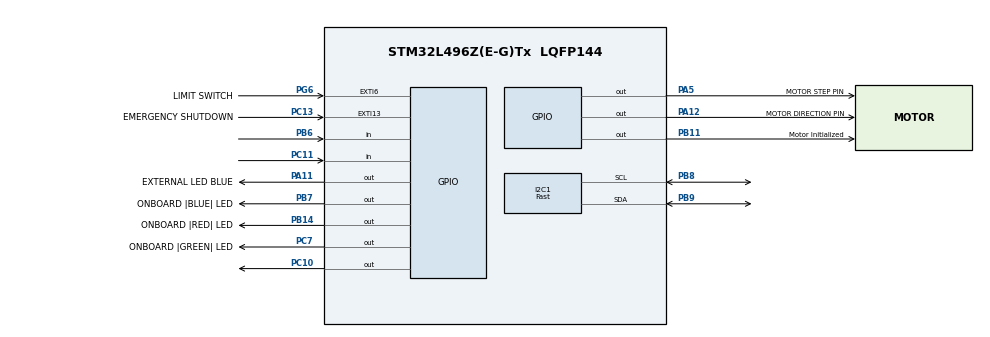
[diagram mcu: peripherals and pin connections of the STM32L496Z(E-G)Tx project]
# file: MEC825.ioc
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Mcu.Family=STM32L4
RCC.MSI_VALUE=4000000
VP_SYS_VS_tim6.Mode=TIM6
FREERTOS.Tasks01=OLED,24,128,OLEDupdater,Default,NULL,Dynamic,NULL,NULL;MOTOR,16,128,MOTORupdater,Default,NULL,Dynamic,NULL,NULL
PG6.Signal=GPXTI6
PA13\ (JTMS/SWDIO).Mode=Serial_Wire
I2C1.I2C_Speed_Mode=I2C_Fast
NVIC.TIM6_DAC_IRQn=true\:0\:0\:false\:false\:true\:false\:false\:true
PC13.Signal=GPXTI13
PC10.Signal=GPIO_Output
PC11.Signal=GPIO_Input
PB14.GPIO_Label=ONBOARD |RED| LED
PG6.GPIO_Label=LIMIT SWITCH
PB11.GPIO_Label=Motor Initialized
PA11.GPIO_Label=EXTERNAL LED BLUE
PC13.GPIO_Label=EMERGENCY SHUTDOWN
PB11.Signal=GPIO_Output
PA12.GPIO_Label=MOTOR DIRECTION PIN
ProjectManager.StackSize=0x400
VP_FREERTOS_VS_CMSIS_V2.Mode=CMSIS_V2
PA14\ (JTCK/SWCLK).Signal=SYS_JTCK-SWCLK
PA12.Signal=GPIO_Output
ProjectManager.TargetToolchain=STM32CubeIDE
PB9.Mode=I2C
PB6.Signal=GPIO_Input
I2C1.Timing=0x00000004
PC7.Signal=GPIO_Output
RCC.LSE_VALUE=32768
NVIC.EXTI15_10_IRQn=true\:5\:0\:false\:false\:true\:false\:true\:true
PB14.Signal=GPIO_Output
PA5.Signal=GPIO_Output
RCC.HSE_VALUE=8000000
board=custom
RCC.VCOOutputFreq_Value=32000000
PG6.GPIO_PuPd=GPIO_NOPULL
PB7.Signal=GPIO_Output
PA14\ (JTCK/SWCLK).Mode=Serial_Wire
Mcu.Name=STM32L496Z(E-G)Tx
PC7.GPIO_Label=ONBOARD |GREEN| LED
PB7.GPIO_Label=ONBOARD |BLUE| LED
Mcu.Package=LQFP144
PB9.Signal=I2C1_SDA
NVIC.TimeBase=TIM6_DAC_IRQn
PA5.GPIO_Label=MOTOR STEP PIN
PA11.Signal=GPIO_Output
NVIC.TimeBaseIP=TIM6
NVIC.EXTI9_5_IRQn=true\:5\:0\:false\:false\:true\:true\:true\:true
ProjectManager.HeapSize=0x200
RCC.HSI_VALUE=16000000
NVIC.PriorityGroup=NVIC_PRIORITYGROUP_4
PB8.Mode=I2C
PB8.Signal=I2C1_SCL
RCC.HSI48_VALUE=48000000
PA13\ (JTMS/SWDIO).Signal=SYS_JTMS-SWDIO

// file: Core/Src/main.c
/* USER CODE BEGIN Header */
/**
  ******************************************************************************
  * @file           : main.c
  * @brief          : Main program body
  ******************************************************************************
  * @attention
  *
  * <h2><center>&copy; Copyright (c) 2021 STMicroelectronics.
  * All rights reserved.</center></h2>
  *
  * This software component is licensed by ST under BSD 3-Clause license,
  * the "License"; You may not use this file except in compliance with the
  * License. You may obtain a copy of the License at:
  *                        opensource.org/licenses/BSD-3-Clause
  *
  ******************************************************************************
  */
/* USER CODE END Header */
#include "main.h"
#include "cmsis_os.h"
#include "i2c.h"
#include "gpio.h"

/* USER CODE BEGIN Includes */
#include "bitmap.h"
#include "fonts.h"
#include "ssd1306.h"
#include "StepLib.h"
#include "test.h"
#include <stdio.h>
#include <string.h>
#include <HX711.h>
/* USER CODE END Includes */

void SystemClock_Config(void);
void MX_FREERTOS_Init(void);

int main(void)
{

  /* MCU Configuration--------------------------------------------------------*/

  /* Reset of all peripherals, Initializes the Flash interface and the Systick. */
  HAL_Init();

  /* Configure the system clock */
  SystemClock_Config();

  /* Initialize all configured peripherals */
  MX_GPIO_Init();
  MX_I2C1_Init();
  /* USER CODE BEGIN 2 */

//  SSD1306_Init();  // initialise
//    /// lets print some string
// 	  HAL_Delay(3000);
//      SSD1306_GotoXY (0,0);
//      SSD1306_Puts ("Autonomous" , &Font_7x10, 1);
//      SSD1306_GotoXY (0, 15);
//      SSD1306_Puts ("Pole & Line", &Font_7x10, 1);
//      SSD1306_GotoXY (0, 30);
//      SSD1306_Puts ("Fishing System", &Font_7x10, 1);
//      SSD1306_UpdateScreen(); //display
//      HAL_Delay (3000);
//      SSD1306_Clear();
//
//      SSD1306_GotoXY (0,0);
//      SSD1306_Puts ("Created By:", &Font_7x10, 1);
//      SSD1306_GotoXY (0, 18);
//      SSD1306_Puts ("Heather & Nicholas", &Font_7x10, 1);
//      SSD1306_GotoXY (0, 36);
//      SSD1306_Puts ("Imran & Hasib", &Font_7x10, 1);
//      SSD1306_UpdateScreen(); //display
//      HAL_Delay (3000);
//      SSD1306_Clear();
//
//      SSD1306_DrawBitmap(0,0,logo, 128, 64, 1);
//      SSD1306_UpdateScreen();
//
//      HAL_Delay(2000);
//
//      SSD1306_ScrollRight(0x00, 0x0f);    // scroll entire screen right
//
//      HAL_Delay (2000);
//
//      SSD1306_ScrollLeft(0x00, 0x0f);  // scroll entire screen left
//
//      HAL_Delay (2000);
//
//      SSD1306_Scrolldiagright(0x00, 0x0f);  // scroll entire screen diagonal right
//
//      HAL_Delay (2000);
//
//      SSD1306_Scrolldiagleft(0x00, 0x0f);  // scroll entire screen diagonal left
//
//      HAL_Delay (2000);
//
//      SSD1306_Stopscroll();   // stop scrolling. If not done, screen will keep on scrolling
//
//
//      SSD1306_InvertDisplay(1);   // invert the display
//
//      HAL_Delay(2000);
//
//      SSD1306_InvertDisplay(0);  // normalize the display

      SSD1306_Clear();

      SSD1306_GotoXY (0,0);
      SSD1306_Puts ("Fish Caught: 1" , &Font_7x10, 1);
      SSD1306_GotoXY (0, 15);
      SSD1306_Puts ("Fish Rejected: 2", &Font_7x10, 1);
      SSD1306_GotoXY (0, 30);
      SSD1306_Puts ("Action:Waiting For", &Font_7x10, 1);
      SSD1306_GotoXY (0, 40);
      SSD1306_Puts ("Fish", &Font_7x10, 1);
      SSD1306_UpdateScreen(); //display
      HAL_Delay (5000);
      SSD1306_Clear();

      SSD1306_GotoXY (0,0);
      SSD1306_Puts ("Motor Initializing " , &Font_7x10, 1);
      SSD1306_GotoXY (0, 15);
      SSD1306_Puts ("", &Font_7x10, 1);
      SSD1306_GotoXY (0, 30);
      SSD1306_Puts ("Please Wait", &Font_7x10, 1);
      SSD1306_UpdateScreen(); //display
      HAL_Delay (5000);
      SSD1306_Clear();

      SSD1306_GotoXY (0,0);
      SSD1306_Puts ("EMERGENCY" , &Font_7x10, 1);
      SSD1306_GotoXY (0, 15);
      SSD1306_Puts ("BUTTON", &Font_7x10, 1);
      SSD1306_GotoXY (0, 30);
      SSD1306_Puts ("PRESSED", &Font_7x10, 1);
      SSD1306_UpdateScreen(); //display
      SSD1306_InvertDisplay(1);   // invert the display
      HAL_Delay (3000);
      SSD1306_InvertDisplay(0);   // invert the display
      HAL_Delay (3000);
      SSD1306_InvertDisplay(1);   // invert the display
      HAL_Delay (5000);
      SSD1306_Clear();

//  long holder = read(); // read from the FUCKING shits
//	   		     /// lets print some string
//	   	     char result[50];
//	   	     int num = holder;
//	   	     sprintf(result, "%d", num);
//	   	     printf("\n The string for the num is %s", result);
//
//	   	  SSD1306_Clear();
//
//	   	  HAL_Delay(10000);
//	        SSD1306_GotoXY (0,0);
//	        SSD1306_Puts (result , &Font_7x10, 1);
//	        HAL_Delay (3000);
//	        SSD1306_Clear();

  /* USER CODE END 2 */

  /* Init scheduler */
  osKernelInitialize();  /* Call init function for freertos objects (in freertos.c) */
  MX_FREERTOS_Init();
  /* Start scheduler */
  osKernelStart();

  /* We should never get here as control is now taken by the scheduler */
  /* Infinite loop */
  while (1)
  {

    /* USER CODE BEGIN 3 */

    /* USER CODE BEGIN 3 */
  }
  /* USER CODE END 3 */
}

void SystemClock_Config(void)
{
  RCC_OscInitTypeDef RCC_OscInitStruct = {0};
  RCC_ClkInitTypeDef RCC_ClkInitStruct = {0};
  RCC_PeriphCLKInitTypeDef PeriphClkInit = {0};

  /** Initializes the RCC Oscillators according to the specified parameters
  * in the RCC_OscInitTypeDef structure.
  */
  RCC_OscInitStruct.OscillatorType = RCC_OSCILLATORTYPE_MSI;
  RCC_OscInitStruct.MSIState = RCC_MSI_ON;
  RCC_OscInitStruct.MSICalibrationValue = 0;
  RCC_OscInitStruct.MSIClockRange = RCC_MSIRANGE_6;
  RCC_OscInitStruct.PLL.PLLState = RCC_PLL_NONE;
  if (HAL_RCC_OscConfig(&RCC_OscInitStruct) != HAL_OK)
  {
    Error_Handler();
  }
  /** Initializes the CPU, AHB and APB buses clocks
  */
  RCC_ClkInitStruct.ClockType = RCC_CLOCKTYPE_HCLK|RCC_CLOCKTYPE_SYSCLK
                              |RCC_CLOCKTYPE_PCLK1|RCC_CLOCKTYPE_PCLK2;
  RCC_ClkInitStruct.SYSCLKSource = RCC_SYSCLKSOURCE_MSI;
  RCC_ClkInitStruct.AHBCLKDivider = RCC_SYSCLK_DIV1;
  RCC_ClkInitStruct.APB1CLKDivider = RCC_HCLK_DIV1;
  RCC_ClkInitStruct.APB2CLKDivider = RCC_HCLK_DIV1;

  if (HAL_RCC_ClockConfig(&RCC_ClkInitStruct, FLASH_LATENCY_0) != HAL_OK)
  {
    Error_Handler();
  }
  PeriphClkInit.PeriphClockSelection = RCC_PERIPHCLK_I2C1;
  PeriphClkInit.I2c1ClockSelection = RCC_I2C1CLKSOURCE_PCLK1;
  if (HAL_RCCEx_PeriphCLKConfig(&PeriphClkInit) != HAL_OK)
  {
    Error_Handler();
  }
  /** Configure the main internal regulator output voltage
  */
  if (HAL_PWREx_ControlVoltageScaling(PWR_REGULATOR_VOLTAGE_SCALE1) != HAL_OK)
  {
    Error_Handler();
  }
}

 /**
  * @brief  Period elapsed callback in non blocking mode
  * @note   This function is called  when TIM6 interrupt took place, inside
  * HAL_TIM_IRQHandler(). It makes a direct call to HAL_IncTick() to increment
  * a global variable "uwTick" used as application time base.
  * @param  htim : TIM handle
  * @retval None
  */
void HAL_TIM_PeriodElapsedCallback(TIM_HandleTypeDef *htim)
{
  if (htim->Instance == TIM6) {
    HAL_IncTick();
  }
}

void Error_Handler(void)
{
  __disable_irq();
  while (1)
  {
  }
}

/************************ (C) COPYRIGHT STMicroelectronics *****END OF FILE****/

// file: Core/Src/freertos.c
/* USER CODE BEGIN Header */
/**
  ******************************************************************************
  * File Name          : freertos.c
  * Description        : Code for freertos applications
  ******************************************************************************
  * @attention
  *
  * <h2><center>&copy; Copyright (c) 2021 STMicroelectronics.
  * All rights reserved.</center></h2>
  *
  * This software component is licensed by ST under Ultimate Liberty license
  * SLA0044, the "License"; You may not use this file except in compliance with
  * the License. You may obtain a copy of the License at:
  *                             www.st.com/SLA0044
  *
  ******************************************************************************
  */
/* USER CODE END Header */

#include "FreeRTOS.h"
#include "task.h"
#include "main.h"
#include "cmsis_os.h"

/* USER CODE BEGIN Includes */
#include "ssd1306.h"
#include "HX711.h"
#include <stdio.h>
#include <string.h>
#include "fonts.h"
//#include "i2c.h"
//#include "bitmap.h"
/* USER CODE END Includes */

/* USER CODE BEGIN Variables */

int motorAtBoundary = 0; //check if motor at boundary
int initialized =0;

//-----motor pins------
//const int dirPin = 7; ||GPIOA, GPIO_PIN12, SET/RESET|| -- OUTPUT
//const int stepPin = 8; ||GPIOA, GPIO_PIN5, SET/RESET|| -- OUTPUT

const int stepsPerRevolution = 200;

//-----routine pins------
//const uint8_t motorLimit = 2;  ||GPIO  ||
//const uint8_t emergencyButton= 3;  ||GPIO  ||

//-----reading pin-------
long reading=0;
long prevReading;
int pollCast = 0;

const uint8_t initLED = 13;//green or blue LED ||GPIO  ||
const uint8_t emergencyLED = 12;//red LED ||GPIO  ||
//uint8_t led_state = HIGH; check led state||GPIO  ||
int passTime = 0;

//-----fishy vars-------
int fishCaught = 0;
int fishRejected = 0;

/* USER CODE END Variables */
/* Definitions for OLED */
osThreadId_t OLEDHandle;
const osThreadAttr_t OLED_attributes = {
  .name = "OLED",
  .stack_size = 128 * 4,
  .priority = (osPriority_t) osPriorityNormal,
};
/* Definitions for MOTOR */
osThreadId_t MOTORHandle;
const osThreadAttr_t MOTOR_attributes = {
  .name = "MOTOR",
  .stack_size = 128 * 4,
  .priority = (osPriority_t) osPriorityBelowNormal,
};

/* USER CODE BEGIN FunctionPrototypes */

void motorInit();
void castPole();
void reelPole();
void rejectFish();

/* USER CODE END FunctionPrototypes */

void OLEDupdater(void *argument);
void MOTORupdater(void *argument);

void MX_FREERTOS_Init(void); /* (MISRA C 2004 rule 8.1) */

void MX_FREERTOS_Init(void) {

  /* Create the thread(s) */
  /* creation of OLED */
  OLEDHandle = osThreadNew(OLEDupdater, NULL, &OLED_attributes);

  /* creation of MOTOR */
  MOTORHandle = osThreadNew(MOTORupdater, NULL, &MOTOR_attributes);

}

void OLEDupdater(void *argument)
{
  /* USER CODE BEGIN OLEDupdater */
  /* Infinite loop */
	SSD1306_Init();  // initialise
	for(;;)
	{

	      SSD1306_Clear();
	  if (motorAtBoundary == 1 && initialized == 1){

	      SSD1306_GotoXY (0,0);
	      SSD1306_Puts ("Fish Caught: 1" , &Font_7x10, 1);
	      SSD1306_GotoXY (0, 15);
	      SSD1306_Puts ("Fish Rejected: 2", &Font_7x10, 1);
	      SSD1306_GotoXY (0, 30);
	      SSD1306_Puts ("Action:Waiting For", &Font_7x10, 1);
	      SSD1306_GotoXY (0, 40);
	      SSD1306_Puts ("Fish", &Font_7x10, 1);
	      SSD1306_UpdateScreen(); //display
	      HAL_Delay (5000);
	      SSD1306_Clear();

	  }

	  if(motorAtBoundary == 0){
	      SSD1306_GotoXY (0,0);
	      SSD1306_Puts ("Motor Initializing " , &Font_7x10, 1);
	      SSD1306_GotoXY (0, 15);
	      SSD1306_Puts ("", &Font_7x10, 1);
	      SSD1306_GotoXY (0, 30);
	      SSD1306_Puts ("Please Wait", &Font_7x10, 1);
	      SSD1306_UpdateScreen(); //display
	      HAL_Delay (5000);
	      SSD1306_Clear();
	  }

	}
  /* USER CODE END OLEDupdater */
}

void MOTORupdater(void *argument)
{
  /* USER CODE BEGIN MOTORupdater */
  /* Infinite loop */
  for(;;)
  {

	  if (initialized == 0){ //reel
		  motorInit();
	  }

	  if (passTime == 0){
		  if (pollCast == 0){
			  castPole(); 		//cast
			  pollCast =1;
			  osDelay(5000);	//wait
		  }
		  if (pollCast == 1){		//reel when fish detected
			  reelPole();
			  pollCast = 0;
			  osDelay(10000);
		  }
		  passTime++;
	  }

	  if (passTime == 1){

		  rejectFish(); // cast, wait, reel, unreel
		  passTime++;
	  }

  }

  /* USER CODE END MOTORupdater */
}

/* USER CODE BEGIN Application */

void motorInit(){

	HAL_GPIO_WritePin(GPIOA, GPIO_PIN_12, SET);// set motor dir clockwise LOW for cc // SET MOTOR DIR SO THAT IT ROTATES BACKWARDS
	for(int x = 0; x < stepsPerRevolution; x++){
		if((HAL_GPIO_ReadPin(GPIOB, GPIO_PIN_6)) == 0){ //check if the motor has been initialized.
			HAL_GPIO_WritePin(GPIOA, GPIO_PIN_5, SET);
	        osDelay(15); //perfect speed, change to 20 for slow speed!
	        HAL_GPIO_WritePin(GPIOA, GPIO_PIN_5, RESET);
	        osDelay(15);
		}
		else{
			HAL_GPIO_WritePin(GPIOB, GPIO_PIN_14, SET);
//			osDelay(250);
//			HAL_GPIO_WritePin(GPIOB, GPIO_PIN_14, RESET);
//			osDelay(250);
//			HAL_GPIO_WritePin(GPIOB, GPIO_PIN_14, SET);
//			osDelay(250);
//			HAL_GPIO_WritePin(GPIOB, GPIO_PIN_14, RESET);
//			osDelay(500);
			initialized =1;
			motorAtBoundary = 1;
	        return;
	      }
	}

}

void castPole(){

	  HAL_GPIO_WritePin(GPIOA,GPIO_PIN_12, RESET); //write dir

	  for(int x = 0; x < 50; x++){
		  if(motorAtBoundary == 1){  //check for initialization
	          HAL_GPIO_WritePin(GPIOA, GPIO_PIN_5, SET);
	          osDelay(15); //perfect speed, change to 20 for slow speed!
	          HAL_GPIO_WritePin(GPIOA, GPIO_PIN_5, RESET);
	          osDelay(15);
		  }
	  }
	  //update OLED

}
void reelPole(){

	  HAL_GPIO_WritePin(GPIOA,GPIO_PIN_12, SET);  // high towards back of A frame

	  for(int x = 0; x < 50; x++)
	  {
        HAL_GPIO_WritePin(GPIOA, GPIO_PIN_5, SET);
        osDelay(15); //perfect speed, change to 20 for slow speed!
        HAL_GPIO_WritePin(GPIOA, GPIO_PIN_5, RESET);
        osDelay(15);
	  }

	  fishCaught++;

	  //update OLED

}

//cast, reel, cast!
void rejectFish(){

	  HAL_GPIO_WritePin(GPIOA,GPIO_PIN_12, RESET);  // CAST
	  for(int x = 0; x < 50; x++){
		  HAL_GPIO_WritePin(GPIOA, GPIO_PIN_5, SET);
		  osDelay(15); //perfect speed, change to 20 for slow speed!
		  HAL_GPIO_WritePin(GPIOA, GPIO_PIN_5, RESET);
		  osDelay(15);
	  }

	  osDelay(10000);					//WAIT
	  HAL_GPIO_WritePin(GPIOA,GPIO_PIN_12, SET); //REEL
	  for(int x = 0; x < 35; x++){
		  if(motorAtBoundary == 1){  //check for initialization
	          HAL_GPIO_WritePin(GPIOA, GPIO_PIN_5, SET);
	          osDelay(15); //perfect speed, change to 20 for slow speed!
	          HAL_GPIO_WritePin(GPIOA, GPIO_PIN_5, RESET);
	          osDelay(15);
		  }
	  }

	  osDelay(100);

	  HAL_GPIO_WritePin(GPIOA,GPIO_PIN_12, RESET);  // UNREEL
	  for(int x = 0; x < 35; x++)
	  {
      HAL_GPIO_WritePin(GPIOA, GPIO_PIN_5, SET);
      osDelay(15); //perfect speed, change to 20 for slow speed!
      HAL_GPIO_WritePin(GPIOA, GPIO_PIN_5, RESET);
      osDelay(15);
	  }

	  fishRejected++;

}

/* USER CODE END Application */

/************************ (C) COPYRIGHT STMicroelectronics *****END OF FILE****/
